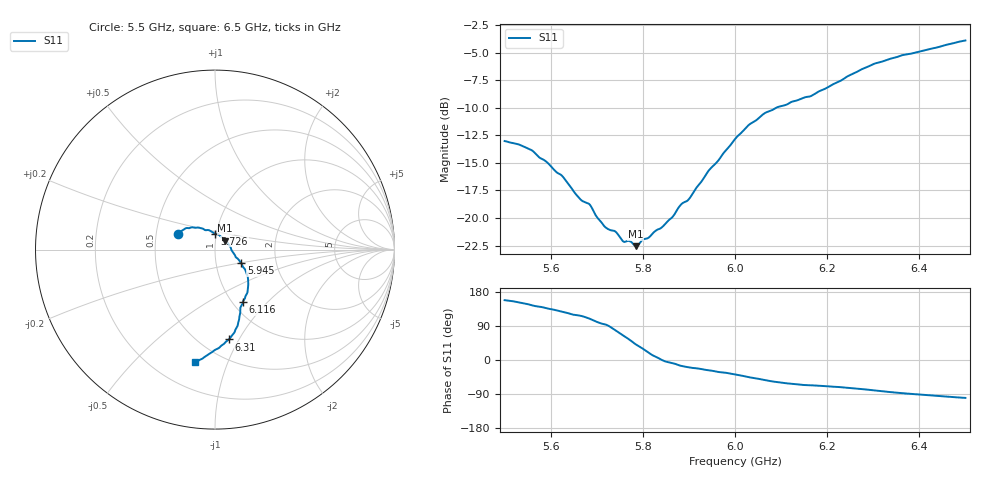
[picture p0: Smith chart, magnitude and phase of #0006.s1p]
#  HZ  S  DB  R  50.00
! Rohde & Schwarz ZVA24 4Ports - Version 3.60 - 1145.1110k28 SN: 101513
! Date: 2019-08-26 13:16:34
! Measurement: S33
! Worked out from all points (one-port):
!   801 points, 5.5 GHz to 6.5 GHz, reference 50 ohm
!   lowest |S11| = -22.5 dB at 5.785 GHz (marker M1), VSWR 1.16, Z = 55.7 + j5.47 ohm
!   |S11| at or under -10 dB: start of sweep to 6.089 GHz
!   S11 on the Smith chart (normalised r, x): 5.5 GHz: 0.65, +0.11; 5.726 GHz: 0.99, +0.18; 5.945 GHz: 1.33, -0.21; 6.116 GHz: 1.12, -0.73; 6.31 GHz: 0.67, -0.91; 6.5 GHz: 0.36, -0.77
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5.5e9  -13.02 157.9
5.5325e9  -13.35 151.3
5.55875e9  -13.85 144.6
5.625e9  -16.19 127.5
5.6625e9  -18.21 117.2
5.685e9  -18.79 108.7
5.7025e9  -20.03 99.4
5.72625e9  -21.04 89.7
5.74e9  -21.21 78.7
5.75e9  -21.74 70.5
5.7575e9  -22.12 64.2
5.77125e9  -22.09 53.5
5.785e9  -22.55 40.9
5.8425e9  -20.80 -0.6
5.865e9  -19.87 -8.2
5.875e9  -19.21 -12.5
5.90125e9  -18.22 -19.8
5.945e9  -15.59 -27.5
6e9  -12.84 -38.2
6.02875e9  -11.60 -45.1
6.0625e9  -10.54 -52.3
6.11625e9  -9.62 -62.0
6.125e9  -9.43 -62.9
6.16625e9  -8.91 -66.8
6.25e9  -7.03 -73.8
6.31e9  -5.91 -81.2
6.375e9  -5.15 -88.8
6.5e9  -3.90 -100.1
